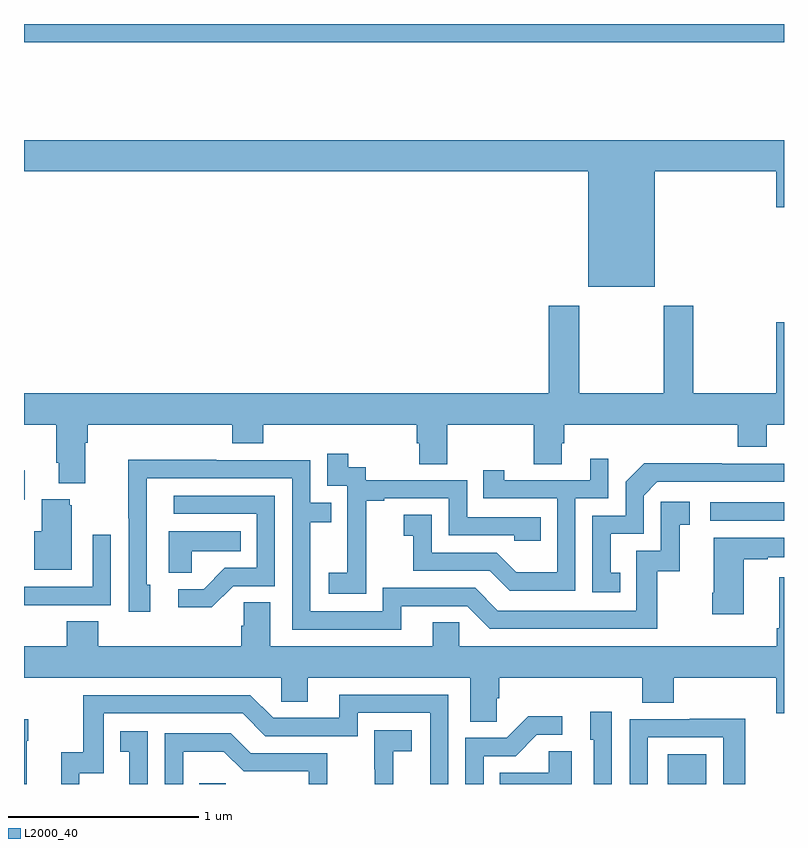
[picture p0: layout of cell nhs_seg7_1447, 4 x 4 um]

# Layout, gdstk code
import gdstk
lib = gdstk.Library(unit=1e-6, precision=1e-09)
def R(c, l, rs):  # rectangles x0, y0, x1, y1
    for r in rs: c.add(gdstk.rectangle(r[:2], r[2:], *l))
def P(c, l, *ps):  # polygons
    for p in ps: c.add(gdstk.Polygon(p, *l))
L2000_40 = (2000, 40)

nhs_seg7_1447 = lib.new_cell('nhs_seg7_1447')
R(nhs_seg7_1447, L2000_40, [(209.923,1056,210.063,1056.003), (212.387,1056,212.59,1056.157), (212.613,1057.386,213,1057.482), (209,1057.495,209.005,1057.651), (209,1059.904,213,1060)])
P(nhs_seg7_1447, L2000_40, [(212.32,1059.224),(212.96,1059.224),(212.96,1059.036),(213,1059.036),(213,1059.388),(209,1059.388),(209,1059.224),(211.97,1059.224),(211.97,1058.618),(212.32,1058.618)],
  [(209.323,1057.796),(209.336,1057.796),(209.336,1057.892),(210.095,1057.892),(210.095,1057.793),(210.26,1057.793),(210.26,1057.892),(211.067,1057.892),(211.067,1057.794),(211.079,1057.794),(211.079,1057.684),(211.227,1057.684),(211.227,1057.892),(211.684,1057.892),(211.684,1057.684),(211.831,1057.684),(211.831,1057.794),(211.844,1057.794),(211.844,1057.892),(212.756,1057.892),(212.756,1057.775),(212.908,1057.775),(212.908,1057.892),(213,1057.892),(213,1058.431),(212.96,1058.431),(212.96,1058.056),(212.523,1058.056),(212.523,1058.518),(212.368,1058.518),(212.368,1058.056),(211.923,1058.056),(211.923,1058.518),(211.763,1058.518),(211.763,1058.056),(209,1058.056),(209,1057.892),(209.171,1057.892),(209.171,1057.69),(209.183,1057.69),(209.183,1057.583),(209.323,1057.583)],
  [(210.801,1057.207),(210.8,1057.207),(210.8,1057.491),(210.895,1057.491),(210.895,1057.503),(211.236,1057.503),(211.236,1057.308),(211.581,1057.308),(211.581,1057.281),(211.721,1057.281),(211.721,1057.404),(211.332,1057.404),(211.332,1057.599),(210.798,1057.599),(210.798,1057.668),(210.706,1057.668),(210.706,1057.738),(210.597,1057.738),(210.597,1057.569),(210.702,1057.569),(210.702,1057.34),(210.701,1057.34),(210.701,1057.111),(210.603,1057.111),(210.603,1057.001),(210.801,1057.001)],
  [(211.902,1057.503),(212.076,1057.503),(212.076,1057.711),(211.979,1057.711),(211.979,1057.599),(211.528,1057.599),(211.528,1057.651),(211.417,1057.651),(211.417,1057.503),(211.806,1057.503),(211.806,1057.114),(211.592,1057.114),(211.488,1057.218),(211.146,1057.218),(211.146,1057.417),(210.999,1057.417),(210.999,1057.307),(211.048,1057.307),(211.048,1057.122),(211.451,1057.122),(211.556,1057.017),(211.902,1057.017)],
  [(210.985,1056.936),(211.332,1056.936),(211.452,1056.816),(212.332,1056.816),(212.332,1057.119),(212.45,1057.119),(212.45,1057.365),(212.503,1057.365),(212.503,1057.486),(212.352,1057.486),(212.352,1057.227),(212.223,1057.227),(212.223,1056.912),(211.494,1056.912),(211.374,1057.032),(210.888,1057.032),(210.888,1056.909),(210.507,1056.909),(210.507,1057.378),(210.617,1057.378),(210.617,1057.479),(210.507,1057.479),(210.507,1057.704),(210.011,1057.704),(210.011,1057.706),(209.548,1057.706),(209.548,1057.399),(209.55,1057.399),(209.55,1056.906),(209.665,1056.906),(209.665,1057.05),(209.646,1057.05),(209.646,1057.608),(210.411,1057.608),(210.411,1056.813),(210.985,1056.813)],
  [(212.138,1057.113),(212.089,1057.113),(212.089,1057.317),(212.262,1057.317),(212.262,1057.518),(212.334,1057.59),(213,1057.59),(213,1057.686),(212.672,1057.686),(212.672,1057.688),(212.264,1057.688),(212.166,1057.59),(212.166,1057.413),(211.992,1057.413),(211.992,1057.008),(212.138,1057.008)],
  [(210.102,1057.041),(210.321,1057.041),(210.321,1057.518),(209.787,1057.518),(209.787,1057.422),(210.225,1057.422),(210.225,1057.137),(210.056,1057.137),(209.945,1057.026),(209.811,1057.026),(209.811,1056.929),(209.989,1056.929)],
  [(209.251,1057.467),(209.24,1057.467),(209.24,1057.498),(209.093,1057.498),(209.093,1057.33),(209.054,1057.33),(209.054,1057.127),(209.251,1057.127)],
  [(209.883,1057.226),(210.14,1057.226),(210.14,1057.33),(209.762,1057.33),(209.762,1057.111),(209.883,1057.111)],
  [(209.141,1056.942),(209.457,1056.942),(209.457,1057.312),(209.361,1057.312),(209.361,1057.038),(209,1057.038),(209,1056.941),(209.141,1056.941)],
  [(212.788,1057.183),(212.915,1057.183),(212.915,1057.193),(213,1057.193),(213,1057.297),(212.63,1057.297),(212.63,1057.006),(212.623,1057.006),(212.623,1056.894),(212.788,1056.894)],
  [(211.488,1056.451),(211.502,1056.451),(211.502,1056.56),(212.255,1056.56),(212.255,1056.427),(212.42,1056.427),(212.42,1056.56),(212.96,1056.56),(212.96,1056.372),(213,1056.372),(213,1057.087),(212.975,1057.087),(212.975,1056.82),(212.963,1056.82),(212.963,1056.724),(211.29,1056.724),(211.29,1056.851),(211.151,1056.851),(211.151,1056.724),(210.295,1056.724),(210.295,1056.956),(210.156,1056.956),(210.156,1056.833),(210.143,1056.833),(210.143,1056.724),(209.39,1056.724),(209.39,1056.857),(209.225,1056.857),(209.225,1056.724),(209,1056.724),(209,1056.56),(210.354,1056.56),(210.354,1056.433),(210.493,1056.433),(210.493,1056.56),(211.349,1056.56),(211.349,1056.328),(211.488,1056.328)],
  [(209.292,1056.057),(209.421,1056.057),(209.421,1056.372),(210.15,1056.372),(210.27,1056.252),(210.756,1056.252),(210.756,1056.375),(211.137,1056.375),(211.137,1056),(211.233,1056),(211.233,1056.471),(210.659,1056.471),(210.659,1056.348),(210.312,1056.348),(210.192,1056.468),(209.313,1056.468),(209.313,1056.166),(209.195,1056.166),(209.195,1056),(209.292,1056)],
  [(212.094,1056.379),(211.979,1056.379),(211.979,1056.234),(211.998,1056.234),(211.998,1056),(212.094,1056)],
  [(211.419,1056.147),(211.588,1056.147),(211.699,1056.258),(211.834,1056.258),(211.834,1056.356),(211.655,1056.356),(211.542,1056.243),(211.323,1056.243),(211.323,1056),(211.419,1056)],
  [(212.283,1056.246),(212.679,1056.246),(212.679,1056),(212.795,1056),(212.795,1056.344),(212.503,1056.344),(212.503,1056.342),(212.187,1056.342),(212.187,1056),(212.283,1056)],
  [(209.014,1056.227),(209.022,1056.227),(209.022,1056.34),(209,1056.34),(209,1056),(209.014,1056)],
  [(210.944,1056.173),(211.042,1056.173),(211.042,1056.283),(210.844,1056.283),(210.844,1056.077),(210.845,1056.077),(210.845,1056),(210.944,1056)],
  [(209.652,1056.277),(209.506,1056.277),(209.506,1056.171),(209.555,1056.171),(209.555,1056),(209.652,1056)],
  [(209.838,1056.17),(210.052,1056.17),(210.156,1056.066),(210.498,1056.066),(210.498,1056),(210.597,1056),(210.597,1056.162),(210.193,1056.162),(210.088,1056.267),(209.742,1056.267),(209.742,1056),(209.838,1056)],
  [(211.882,1056.173),(211.761,1056.173),(211.761,1056.058),(211.504,1056.058),(211.504,1056),(211.882,1056)])

lib.write_gds('nhs_seg7_1447.gds')
